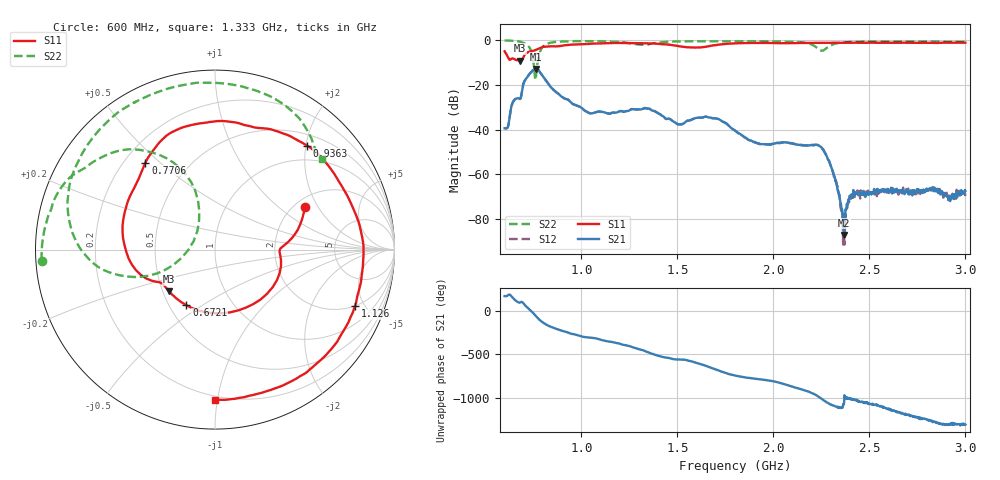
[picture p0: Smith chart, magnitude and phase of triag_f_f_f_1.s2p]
#  HZ  S  RI  R  50.00
! Rohde & Schwarz ZVB8 2Ports - Version 2.81 - 1145.1010k08 SN: 100113
! Date: 2016-05-03 01:38:13
! Measurements: S11 S21 S12 S22
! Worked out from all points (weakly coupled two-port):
!   1000 points, 600 MHz to 3 GHz, reference 50 ohm
!   highest |S21| = -12.95 dB at 763.4 MHz (marker M1); lowest = -87.0 dB at 2.368 GHz (marker M2)
!   lowest |S11| = -9.2 dB at 681.7 MHz (marker M3), VSWR 2.06, Z = 27 - j14.2 ohm
!   |S11| at or under -10 dB: nowhere
!   |S22| runs from -17.9 to -0.3 dB; largest |S21 - S12| = 0.0037
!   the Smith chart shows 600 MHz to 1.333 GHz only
!   S11 on the Smith chart (normalised r, x): 600 MHz: 2.27, +1.56; 672.1 MHz: 0.61, -0.43; 770.6 MHz: 0.28, +0.45; 936.3 MHz: 0.70, +2.02; 1.126 GHz: 1.98, -4.26; 1.333 GHz: 0.18, -0.98
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6e8  0.5011 0.238  -0.0105 0.00188  -0.0105 0.00187  -0.9666 -0.0617
6.720721e8  -0.1595 -0.3102  -0.00665 0.0493  -0.00667 0.0493  -0.8653 0.3328
6.816817e8  -0.2565 -0.2316  -0.00576 0.0481  -0.00599 0.048  -0.8193 0.3915
7.297297e8  -0.5024 0.2104  0.1691 0.0443  0.1678 0.0471  -0.3821 0.5491
7.633634e8  -0.4056 0.4414  0.1083 -0.1975  0.1093 -0.1951  -0.1486 -0.00224
7.705706e8  -0.3879 0.4846  0.0446 -0.2171  0.0457 -0.2168  -0.2749 -0.1117
8.234234e8  -0.0758 0.704  -0.1085 -0.0252  -0.1084 -0.0257  -0.8091 0.1483
9.363363e8  0.512 0.5791  -0.0101 0.0433  -0.0102 0.0431  -0.6103 0.7019
1.001201e9  0.7301 0.313  0.0128 0.0277  0.0126 0.0278  -0.3856 0.8509
1.126126e9  0.7793 -0.3151  0.0231 0.00508  0.0232 0.00517  0.1098 0.9173
1.332733e9  -0.00176 -0.8376  -0.00825 -0.029  -0.0082 -0.029  0.5936 0.5036
1.4e9  -0.2957 -0.7606  -0.0215 -0.00858  -0.0215 -0.00862  0.7629 0.4121
1.570571e9  -0.5942 -0.3222  -0.0123 0.0108  -0.0123 0.0108  0.9004 -0.2384
1.801201e9  -0.7844 0.2842  0.00835 -0.00424  0.00841 -0.00417  0.3729 -0.8488
2.000601e9  -0.2457 0.8085  -0.000221 -0.00486  -0.000257 -0.00482  -0.2675 -0.8841
2.2e9  0.4893 0.6998  -0.00309 0.00334  -0.00309 0.0033  -0.6735 -0.397
2.284084e9  0.7313 0.451  0.00208 0.000647  0.00204 0.000717  -0.4943 -0.4803
2.368168e9  0.8513 0.1142  4.25e-05 1.41e-05  5.63e-05 5.76e-05  -0.7831 -0.4015
2.418619e9  0.8566 -0.0996  0.0002 0.000294  0.000206 0.000323  -0.8658 -0.271
2.601201e9  0.4611 -0.7283  0.000277 -0.000339  0.000271 -0.000272  -0.9056 0.1773
2.786186e9  -0.2248 -0.8299  -0.000437 -0.000109  -0.000395 -6.75e-05  -0.7199 0.5687
3e9  -0.781 -0.367  -0.000262 0.000338  -0.000211 0.000252  -0.3167 0.8514
